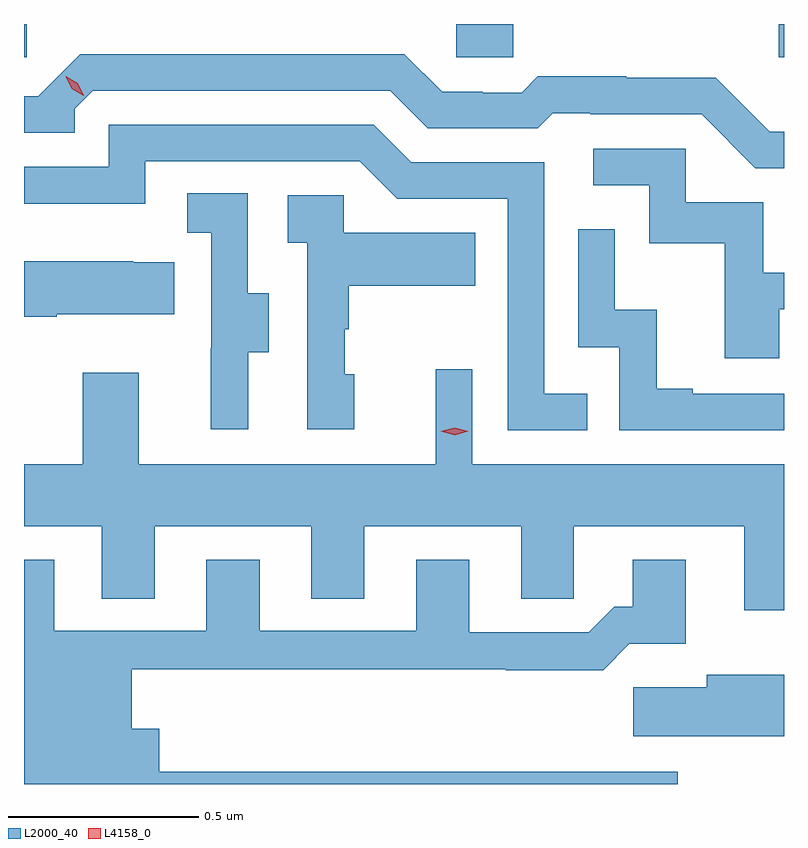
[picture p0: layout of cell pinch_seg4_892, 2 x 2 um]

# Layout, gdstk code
import gdstk
lib = gdstk.Library(unit=1e-6, precision=1e-09)
def R(c, l, rs):  # rectangles x0, y0, x1, y1
    for r in rs: c.add(gdstk.rectangle(r[:2], r[2:], *l))
def P(c, l, *ps):  # polygons
    for p in ps: c.add(gdstk.Polygon(p, *l))
L2000_40 = (2000, 40)
L4158_0 = (4158, 0)

pinch_seg4_892 = lib.new_cell('pinch_seg4_892')
R(pinch_seg4_892, L2000_40, [(841.661,802.05,841.668,802.138), (842.799,802.05,842.949,802.138), (843.647,802.05,843.661,802.138)])
P(pinch_seg4_892, L2000_40, [(843.661,801.855),(843.624,801.855),(843.482,801.997),(843.246,801.997),(843.246,802),(843.013,802),(842.971,801.957),(842.868,801.957),(842.868,801.96),(842.761,801.96),(842.662,802.059),(841.809,802.059),(841.698,801.948),(841.661,801.948),(841.661,801.852),(841.794,801.852),(841.794,801.915),(841.842,801.963),(842.625,801.963),(842.724,801.864),(843.013,801.864),(843.052,801.903),(843.151,801.903),(843.151,801.9),(843.444,801.9),(843.585,801.759),(843.661,801.759)],
  [(843.143,801.165),(843.03,801.165),(843.03,801.774),(842.68,801.774),(842.581,801.873),(841.884,801.873),(841.884,801.762),(841.661,801.762),(841.661,801.665),(841.98,801.665),(841.98,801.777),(842.544,801.777),(842.643,801.678),(842.934,801.678),(842.934,801.069),(843.143,801.069)],
  [(843.649,801.387),(843.661,801.387),(843.661,801.483),(843.607,801.483),(843.607,801.669),(843.402,801.669),(843.402,801.81),(843.159,801.81),(843.159,801.714),(843.306,801.714),(843.306,801.561),(843.505,801.561),(843.505,801.258),(843.649,801.258)],
  [(842.251,801.274),(842.305,801.274),(842.305,801.429),(842.25,801.429),(842.25,801.692),(842.091,801.692),(842.091,801.589),(842.154,801.589),(842.154,801.285),(842.153,801.285),(842.153,801.072),(842.251,801.072)],
  [(842.53,801.216),(842.505,801.216),(842.505,801.335),(842.515,801.335),(842.515,801.449),(842.849,801.449),(842.849,801.589),(842.502,801.589),(842.502,801.687),(842.355,801.687),(842.355,801.563),(842.406,801.563),(842.406,801.072),(842.53,801.072)],
  [(843.661,801.165),(843.421,801.165),(843.421,801.178),(843.326,801.178),(843.326,801.386),(843.216,801.386),(843.216,801.598),(843.12,801.598),(843.12,801.288),(843.228,801.288),(843.228,801.069),(843.661,801.069)],
  [(841.747,801.374),(842.057,801.374),(842.057,801.511),(841.949,801.511),(841.949,801.514),(841.661,801.514),(841.661,801.367),(841.747,801.367)],
  [(843.661,800.98),(842.841,800.98),(842.841,801.229),(842.744,801.229),(842.744,800.98),(841.963,800.98),(841.963,801.22),(841.816,801.22),(841.816,800.98),(841.661,800.98),(841.661,800.816),(841.865,800.816),(841.865,800.626),(842.005,800.626),(842.005,800.816),(842.417,800.816),(842.417,800.626),(842.557,800.626),(842.557,800.816),(842.969,800.816),(842.969,800.626),(843.108,800.626),(843.108,800.816),(843.557,800.816),(843.557,800.595),(843.661,800.595)],
  [(843.382,800.17),(842.017,800.17),(842.017,800.284),(841.945,800.284),(841.945,800.44),(842.929,800.44),(842.929,800.438),(843.185,800.438),(843.254,800.507),(843.403,800.507),(843.403,800.728),(843.263,800.728),(843.263,800.605),(843.214,800.605),(843.147,800.538),(842.833,800.538),(842.833,800.728),(842.693,800.728),(842.693,800.541),(842.281,800.541),(842.281,800.728),(842.141,800.728),(842.141,800.541),(841.741,800.541),(841.741,800.728),(841.661,800.728),(841.661,800.138),(843.382,800.138)],
  [(843.661,800.425),(843.458,800.425),(843.458,800.393),(843.264,800.393),(843.264,800.264),(843.661,800.264)])
P(pinch_seg4_892, L4158_0, [(841.818,801.949),(841.787,801.968),(841.771,802.001),(841.771,802.001),(841.771,802.001),(841.802,801.982),(841.818,801.95),(841.818,801.949)],
  [(842.794,801.056),(842.758,801.066),(842.758,801.066),(842.758,801.066),(842.794,801.076),(842.83,801.066),(842.83,801.066),(842.83,801.066)])

lib.write_gds('pinch_seg4_892.gds')
